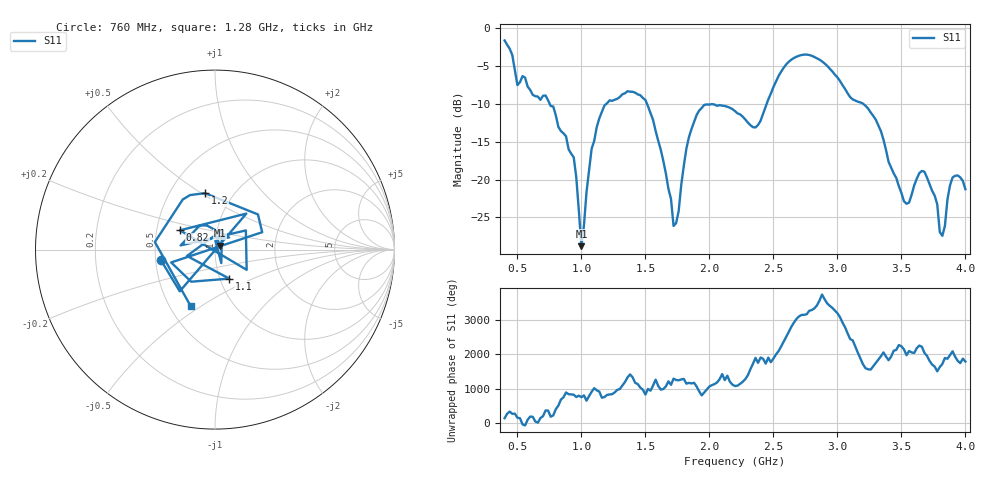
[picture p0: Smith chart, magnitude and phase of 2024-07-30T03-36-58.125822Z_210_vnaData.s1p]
!Created with skrf (http://scikit-rf.org).
# Hz S RI R 50.0
!freq ReS11 ImS11
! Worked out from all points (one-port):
!   181 points, 400 MHz to 4 GHz, reference 50 ohm
!   lowest |S11| = -28.8 dB at 1 GHz (marker M1), VSWR 1.08, Z = 53 + j2.28 ohm
!   |S11| at or under -10 dB: 752.9 MHz to 1.194 GHz (440.9 MHz wide, 45.3 % of centre); 1.513 GHz to 2.448 GHz (934.5 MHz wide, 47.2 % of centre); 3.203 GHz to end of sweep
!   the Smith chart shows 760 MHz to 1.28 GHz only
!   S11 on the Smith chart (normalised r, x): 760 MHz: 0.53, -0.07; 820 MHz: 0.66, +0.15; 1.1 GHz: 1.11, -0.37; 1.2 GHz: 0.74, +0.52; 1.28 GHz: 0.64, -0.45
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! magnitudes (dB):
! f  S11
! 400 MHz  -1.6
! 500 MHz  -7.5
! 760 MHz  -10.3
! 820 MHz  -13.0
! 860 MHz  -13.9
! 940 MHz  -17.1
! 1 GHz  -28.8
! 1.1 GHz  -14.9
! 1.2 GHz  -9.9
! 1.28 GHz  -9.3
! 1.3 GHz  -9.1
! 1.5 GHz  -9.5
! 1.64 GHz  -17.5
! 1.72 GHz  -26.1
! 1.76 GHz  -24.2
! 1.82 GHz  -15.9
! 1.9 GHz  -11.5
! 2.2 GHz  -10.9
! 2.36 GHz  -13.1
! 2.66 GHz  -3.9
! 2.88 GHz  -4.4
! 3.1 GHz  -9.1
! 3.3 GHz  -12.1
! 3.56 GHz  -23.0
! 3.68 GHz  -19.0
! 3.82 GHz  -27.4
! 3.9 GHz  -19.7
! 4 GHz  -21.3
